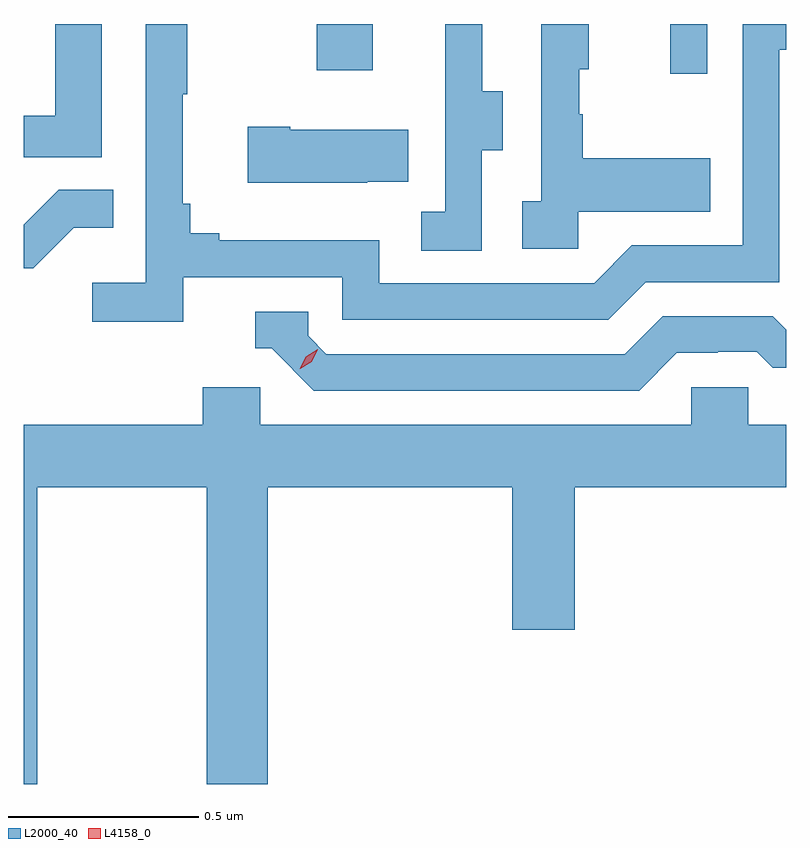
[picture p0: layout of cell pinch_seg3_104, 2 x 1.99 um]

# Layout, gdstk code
import gdstk
lib = gdstk.Library(unit=1e-6, precision=1e-09)
def R(c, l, rs):  # rectangles x0, y0, x1, y1
    for r in rs: c.add(gdstk.rectangle(r[:2], r[2:], *l))
def P(c, l, *ps):  # polygons
    for p in ps: c.add(gdstk.Polygon(p, *l))
L2000_40 = (2000, 40)
L4158_0 = (4158, 0)

pinch_seg3_104 = lib.new_cell('pinch_seg3_104')
R(pinch_seg3_104, L2000_40, [(1040.546,728.64,1040.643,728.771), (1039.618,728.649,1039.765,728.771)])
P(pinch_seg3_104, L2000_40, [(1039.054,728.771),(1038.932,728.771),(1038.932,728.53),(1038.85,728.53),(1038.85,728.421),(1039.054,728.421)],
  [(1039.268,728.106),(1039.686,728.106),(1039.686,727.995),(1040.383,727.995),(1040.482,728.094),(1040.832,728.094),(1040.832,728.703),(1040.85,728.703),(1040.85,728.771),(1040.736,728.771),(1040.736,728.19),(1040.445,728.19),(1040.346,728.091),(1039.782,728.091),(1039.782,728.203),(1039.363,728.203),(1039.363,728.222),(1039.286,728.222),(1039.286,728.299),(1039.267,728.299),(1039.267,728.587),(1039.279,728.587),(1039.279,728.771),(1039.17,728.771),(1039.17,728.092),(1039.029,728.092),(1039.029,727.99),(1039.268,727.99)],
  [(1040.304,728.279),(1040.651,728.279),(1040.651,728.419),(1040.317,728.419),(1040.317,728.534),(1040.307,728.534),(1040.307,728.652),(1040.332,728.652),(1040.332,728.771),(1040.208,728.771),(1040.208,728.306),(1040.157,728.306),(1040.157,728.181),(1040.304,728.181)],
  [(1040.052,728.44),(1040.107,728.44),(1040.107,728.595),(1040.053,728.595),(1040.053,728.771),(1039.955,728.771),(1039.955,728.583),(1039.956,728.583),(1039.956,728.279),(1039.893,728.279),(1039.893,728.176),(1040.052,728.176)],
  [(1039.751,728.357),(1039.859,728.357),(1039.859,728.494),(1039.549,728.494),(1039.549,728.502),(1039.437,728.502),(1039.437,728.354),(1039.751,728.354)],
  [(1038.981,728.237),(1039.085,728.237),(1039.085,728.336),(1038.942,728.336),(1038.85,728.244),(1038.85,728.13),(1038.874,728.13)],
  [(1040.563,727.908),(1040.67,727.908),(1040.67,727.911),(1040.773,727.911),(1040.815,727.869),(1040.85,727.869),(1040.85,727.969),(1040.815,728.004),(1040.526,728.004),(1040.427,727.905),(1039.644,727.905),(1039.596,727.953),(1039.596,728.016),(1039.457,728.016),(1039.457,727.92),(1039.5,727.92),(1039.611,727.809),(1040.464,727.809)],
  [(1038.885,727.556),(1039.33,727.556),(1039.33,726.777),(1039.49,726.777),(1039.49,727.556),(1040.132,727.556),(1040.132,727.182),(1040.296,727.182),(1040.296,727.556),(1040.85,727.556),(1040.85,727.72),(1040.751,727.72),(1040.751,727.818),(1040.601,727.818),(1040.601,727.72),(1039.47,727.72),(1039.47,727.818),(1039.319,727.818),(1039.319,727.72),(1038.85,727.72),(1038.85,726.777),(1038.885,726.777)])
P(pinch_seg3_104, L4158_0, [(1039.574,727.866),(1039.574,727.866),(1039.59,727.898),(1039.621,727.918),(1039.621,727.918),(1039.621,727.917),(1039.605,727.885),(1039.575,727.866)])

lib.write_gds('pinch_seg3_104.gds')
